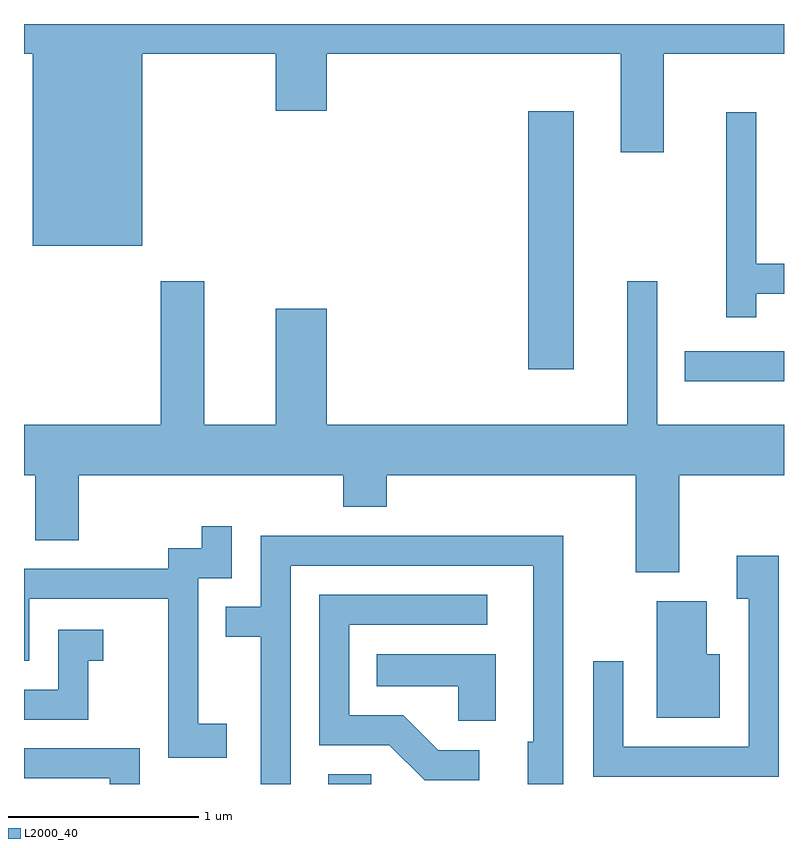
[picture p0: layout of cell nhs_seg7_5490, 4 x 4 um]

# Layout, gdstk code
import gdstk
lib = gdstk.Library(unit=1e-6, precision=1e-09)
def R(c, l, rs):  # rectangles x0, y0, x1, y1
    for r in rs: c.add(gdstk.rectangle(r[:2], r[2:], *l))
def P(c, l, *ps):  # polygons
    for p in ps: c.add(gdstk.Polygon(p, *l))
L2000_40 = (2000, 40)

nhs_seg7_5490 = lib.new_cell('nhs_seg7_5490')
R(nhs_seg7_5490, L2000_40, [(355.211,1708.252,355.439,1708.304), (357.088,1710.371,357.611,1710.529), (356.266,1710.436,356.504,1711.794)])
P(nhs_seg7_5490, L2000_40, [(354.234,1712.096),(354.936,1712.096),(354.936,1711.796),(355.204,1711.796),(355.204,1712.096),(356.751,1712.096),(356.751,1711.576),(356.979,1711.576),(356.979,1712.096),(357.611,1712.096),(357.611,1712.252),(353.611,1712.252),(353.611,1712.096),(353.656,1712.096),(353.656,1711.086),(354.234,1711.086)],
  [(357.464,1710.831),(357.611,1710.831),(357.611,1710.989),(357.464,1710.989),(357.464,1711.788),(357.306,1711.788),(357.306,1710.708),(357.464,1710.708)],
  [(357.059,1709.876),(357.611,1709.876),(357.611,1710.144),(356.944,1710.144),(356.944,1710.898),(356.786,1710.898),(356.786,1710.144),(355.204,1710.144),(355.204,1710.754),(354.936,1710.754),(354.936,1710.144),(354.559,1710.144),(354.559,1710.899),(354.331,1710.899),(354.331,1710.144),(353.611,1710.144),(353.611,1709.876),(353.671,1709.876),(353.671,1709.536),(353.899,1709.536),(353.899,1709.876),(355.291,1709.876),(355.291,1709.711),(355.519,1709.711),(355.519,1709.876),(356.831,1709.876),(356.831,1709.366),(357.059,1709.366)],
  [(354.679,1708.569),(354.529,1708.569),(354.529,1709.336),(354.704,1709.336),(354.704,1709.608),(354.546,1709.608),(354.546,1709.494),(354.371,1709.494),(354.371,1709.384),(353.611,1709.384),(353.611,1708.901),(353.639,1708.901),(353.639,1709.226),(354.371,1709.226),(354.371,1708.391),(354.679,1708.391)],
  [(355.014,1709.401),(356.291,1709.401),(356.291,1708.474),(356.261,1708.474),(356.261,1708.252),(356.449,1708.252),(356.449,1709.559),(354.856,1709.559),(354.856,1709.184),(354.673,1709.184),(354.673,1709.026),(354.856,1709.026),(354.856,1708.252),(355.014,1708.252)],
  [(357.584,1709.454),(357.361,1709.454),(357.361,1709.226),(357.426,1709.226),(357.426,1708.449),(356.764,1708.449),(356.764,1708.898),(356.606,1708.898),(356.606,1708.291),(357.584,1708.291)],
  [(356.008,1708.429),(355.792,1708.429),(355.607,1708.614),(355.324,1708.614),(355.324,1709.091),(356.048,1709.091),(356.048,1709.249),(355.166,1709.249),(355.166,1708.456),(355.534,1708.456),(355.719,1708.271),(356.008,1708.271)],
  [(357.274,1708.934),(357.204,1708.934),(357.204,1709.214),(356.941,1709.214),(356.941,1708.601),(357.274,1708.601)],
  [(353.949,1708.901),(354.028,1708.901),(354.028,1709.064),(353.791,1709.064),(353.791,1708.749),(353.611,1708.749),(353.611,1708.591),(353.949,1708.591)],
  [(356.094,1708.934),(355.468,1708.934),(355.468,1708.766),(355.896,1708.766),(355.896,1708.586),(356.094,1708.586)],
  [(354.219,1708.439),(353.611,1708.439),(353.611,1708.281),(354.061,1708.281),(354.061,1708.252),(354.219,1708.252)])

lib.write_gds('nhs_seg7_5490.gds')
